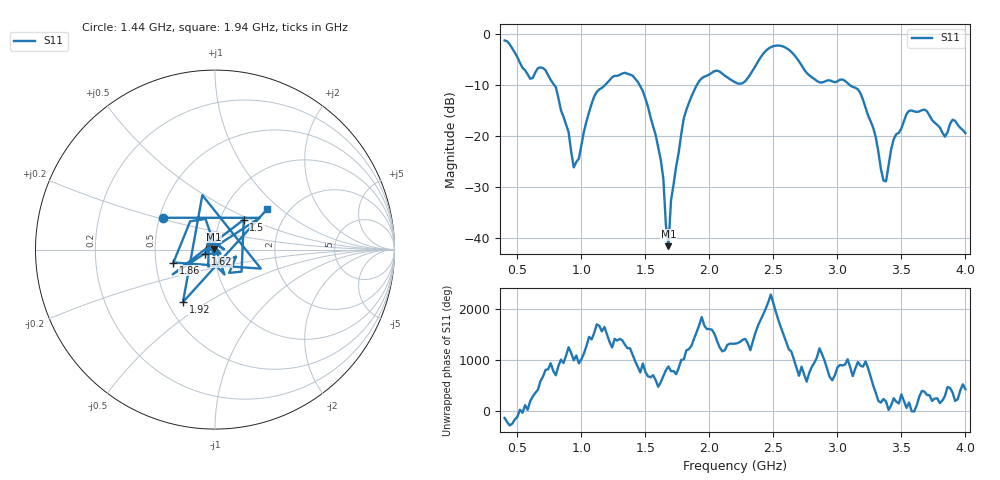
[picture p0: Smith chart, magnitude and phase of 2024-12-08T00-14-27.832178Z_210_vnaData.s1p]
!Created with skrf (http://scikit-rf.org).
# Hz S RI R 50.0
!freq ReS11 ImS11
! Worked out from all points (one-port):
!   181 points, 400 MHz to 4 GHz, reference 50 ohm
!   lowest |S11| = -41.7 dB at 1.68 GHz (marker M1), VSWR 1.02, Z = 49.3 + j0.383 ohm
!   |S11| at or under -10 dB: 785.9 MHz to 1.187 GHz (401.4 MHz wide, 40.7 % of centre); 1.453 GHz to 1.903 GHz (450 MHz wide, 26.8 % of centre); 3.093 GHz to end of sweep
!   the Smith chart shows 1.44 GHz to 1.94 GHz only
!   S11 on the Smith chart (normalised r, x): 1.44 GHz: 0.52, +0.21; 1.5 GHz: 1.29, +0.46; 1.62 GHz: 0.90, -0.04; 1.86 GHz: 0.62, -0.09; 1.92 GHz: 0.60, -0.40; 1.94 GHz: 1.56, +0.81
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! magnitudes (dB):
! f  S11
! 400 MHz  -1.3
! 600 MHz  -8.8
! 720 MHz  -7.2
! 860 MHz  -16.3
! 940 MHz  -26.2
! 1.1 GHz  -12.3
! 1.3 GHz  -8.0
! 1.44 GHz  -9.4
! 1.5 GHz  -12.7
! 1.62 GHz  -24.7
! 1.68 GHz  -41.7
! 1.7 GHz  -32.7
! 1.76 GHz  -23.3
! 1.8 GHz  -16.6
! 1.86 GHz  -12.3
! 1.92 GHz  -9.3
! 1.94 GHz  -8.7
! 2.2 GHz  -9.5
! 2.48 GHz  -2.6
! 2.66 GHz  -4.1
! 2.84 GHz  -9.3
! 3.1 GHz  -10.2
! 3.28 GHz  -18.5
! 3.36 GHz  -28.8
! 3.44 GHz  -20.7
! 3.56 GHz  -15.1
! 3.84 GHz  -20.2
! 4 GHz  -19.5
